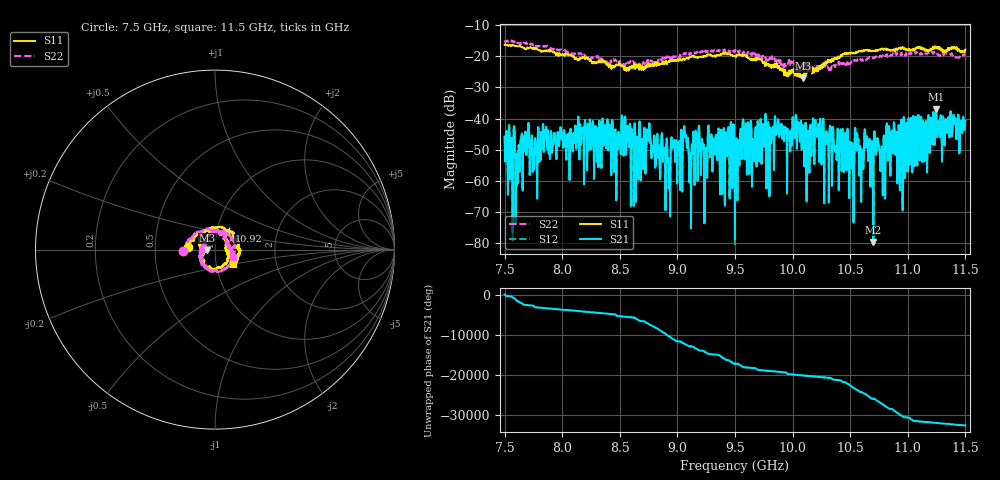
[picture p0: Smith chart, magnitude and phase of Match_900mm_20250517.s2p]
#  HZ  S  DB  R  50.00
! Rohde & Schwarz ZVA40 2Ports - Version 4.11 - 1145.1110k40 SN: 100216
! Date: 2025-05-17 20:21:34
! Measurements: S11 S21 S12 S22
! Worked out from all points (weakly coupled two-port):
!   5001 points, 7.5 GHz to 11.5 GHz, reference 50 ohm
!   highest |S21| = -37.06 dB at 11.24 GHz (marker M1); lowest = -79.5 dB at 10.7 GHz (marker M2)
!   lowest |S11| = -27.2 dB at 10.09 GHz (marker M3), VSWR 1.09, Z = 45.8 - j0.144 ohm
!   |S11| at or under -10 dB: start of sweep to end of sweep
!   |S22| runs from -25.4 to -15.0 dB; largest |S21 - S12| = 0.00012
!   S11 on the Smith chart (normalised r, x): 7.5 GHz: 0.74, +0.02; 10.92 GHz: 1.15, +0.25; 11.5 GHz: 1.20, -0.20
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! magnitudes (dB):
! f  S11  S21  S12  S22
! 7.5 GHz  -16.4  -45.8  -45.8  -15.0
! 7.613 GHz  -16.9  -54.4  -54.3  -15.7
! 7.694 GHz  -17.4  -48.9  -48.9  -16.1
! 7.764 GHz  -17.8  -46.3  -46.3  -16.5
! 7.846 GHz  -18.2  -43.9  -43.8  -17.0
! 8.167 GHz  -20.7  -44.6  -44.6  -19.1
! 8.464 GHz  -23.1  -45.3  -45.2  -21.3
! 8.532 GHz  -23.4  -51.7  -51.8  -22.6
! 8.834 GHz  -22.9  -52.5  -52.5  -21.2
! 9.071 GHz  -20.9  -45.4  -45.4  -19.3
! 9.5 GHz  -20.0  -62.7  -62.7  -18.1
! 10.09 GHz  -27.2  -43.4  -43.3  -24.1
! 10.17 GHz  -25.5  -46.0  -45.9  -24.7
! 10.51 GHz  -18.9  -55.7  -55.9  -22.0
! 10.56 GHz  -18.8  -48.4  -48.3  -21.3
! 10.6 GHz  -18.4  -64.1  -63.7  -21.4
! 10.64 GHz  -18.2  -49.1  -49.0  -21.3
! 10.7 GHz  -18.3  -79.5  -80.4  -20.7
! 10.83 GHz  -18.1  -44.3  -44.2  -19.7
! 10.92 GHz  -17.5  -44.7  -44.6  -19.1
! 11.24 GHz  -17.6  -37.1  -37.1  -19.1
! 11.5 GHz  -17.9  -40.7  -40.7  -19.5
